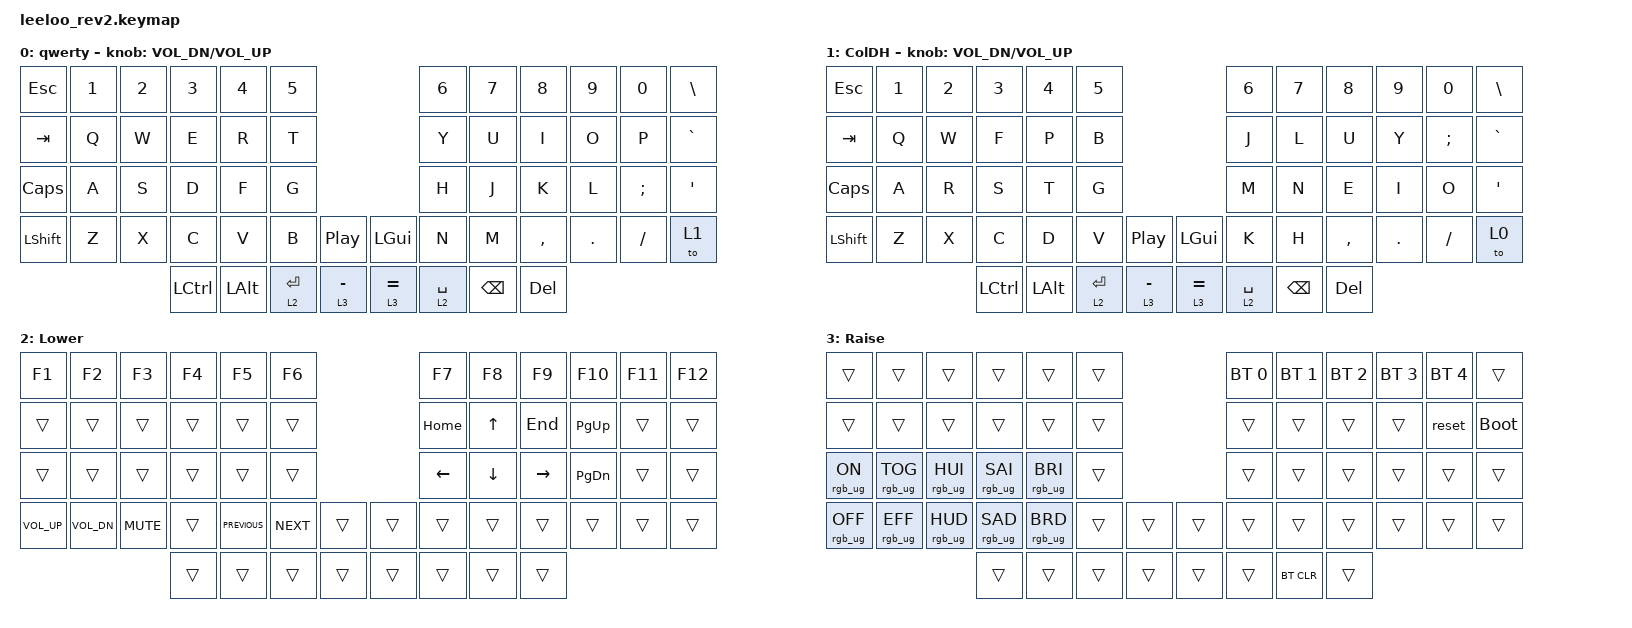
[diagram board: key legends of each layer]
/*
 * Copyright (c) 2022 The ZMK Contributors
 * SPDX-License-Identifier: MIT
 */
// $  west build -d build/left_v2 -p -b nice_nano_v2 -- -DSHIELD="leeloo_rev2_left nice_view_adapter nice_view" -DZMK_CONFIG="boards/shields/leeloo/"

#include <behaviors.dtsi>
#include <dt-bindings/zmk/outputs.h>
#include <dt-bindings/zmk/keys.h>
#include <dt-bindings/zmk/bt.h>
#include <dt-bindings/zmk/rgb.h>

// Layers
#define QWRTY      0       // qwrty_layer
#define COLDH      1       // coldh_layer
#define LOWER      2       // lower_layer
#define RAISE      3       // raise_layer

// Short versions
#define RGBON   &rgb_ug RGB_ON
#define RGBOFF  &rgb_ug RGB_OFF
#define RGBTOG  &rgb_ug RGB_TOG
#define RGBHUI  &rgb_ug RGB_HUI
#define RGBHUD  &rgb_ug RGB_HUD
#define RGBSAI  &rgb_ug RGB_SAI
#define RGBSAD  &rgb_ug RGB_SAD
#define RGBBRI  &rgb_ug RGB_BRI
#define RGBBRD  &rgb_ug RGB_BRD
#define RGBEFF  &rgb_ug RGB_EFF
#define VOLUP   &kp C_VOLUME_UP
#define VOLDN   &kp C_VOL_DN
#define MUTE    &kp C_MUTE
#define NEXT    &kp C_NEXT
#define PREV    &kp C_PREVIOUS


/* 
 * Assign the cs-gpios pin to 4.
 * Uncomment these next three lines if implementing nice!view Displays
 */
&nice_view_spi {
   cs-gpios = <&pro_micro 4 GPIO_ACTIVE_HIGH>;
};


/ {

    keymap {
        compatible = "zmk,keymap";

        qwrty_layer {
            label = " qwerty";
            bindings = <
&kp ESC    &kp N1     &kp N2     &kp N3     &kp N4     &kp N5                           &kp N6     &kp N7     &kp N8     &kp N9     &kp N0     &kp BSLH
&kp TAB    &kp Q      &kp W      &kp E      &kp R      &kp T                            &kp Y      &kp U      &kp I      &kp O      &kp P      &kp GRAV
&kp CAPS   &kp A      &kp S      &kp D      &kp F      &kp G                            &kp H      &kp J      &kp K      &kp L      &kp SEMI   &kp SQT
&kp LSHFT  &kp Z      &kp X      &kp C      &kp V      &kp B     &kp C_PP    &kp LGUI   &kp N      &kp M      &kp COMMA  &kp DOT    &kp FSLH   &to 1
                             &kp LCTRL   &kp LALT  &lt 2 RET  &lt 3 MINUS    &lt 3 EQUAL  &lt 2 SPACE  &kp BSPC   &kp DEL
            >;

             sensor-bindings = <&inc_dec_kp C_VOL_DN C_VOL_UP>;
        };

        coldh_layer {
            label = " ColDH";
            bindings = <
&kp ESC    &kp N1     &kp N2     &kp N3     &kp N4     &kp N5                           &kp N6     &kp N7     &kp N8     &kp N9     &kp N0     &kp BSLH
&kp TAB    &kp Q      &kp W      &kp F      &kp P      &kp B                            &kp J      &kp L      &kp U      &kp Y      &kp SEMI   &kp GRAV
&kp CAPS   &kp A      &kp R      &kp S      &kp T      &kp G                            &kp M      &kp N      &kp E      &kp I      &kp O      &kp SQT
&kp LSHFT  &kp Z      &kp X      &kp C      &kp D      &kp V     &kp C_PP    &kp LGUI   &kp K      &kp H      &kp COMMA  &kp DOT    &kp FSLH   &to 0
                             &kp LCTRL   &kp LALT  &lt 2 RET  &lt 3 MINUS    &lt 3 EQUAL  &lt 2 SPACE  &kp BSPC   &kp DEL
            >;

             sensor-bindings = <&inc_dec_kp C_VOL_DN C_VOL_UP>;
        };

        lower_layer {
            label = " Lower";
            bindings = <
&kp F1     &kp F2     &kp F3     &kp F4     &kp F5     &kp F6                           &kp F7     &kp F8     &kp F9     &kp F10    &kp F11    &kp F12
&trans     &trans     &trans     &trans     &trans     &trans                           &kp HOME   &kp UP     &kp END    &kp PG_UP  &trans     &trans
&trans     &trans     &trans     &trans     &trans     &trans                           &kp LEFT   &kp DOWN   &kp RIGHT  &kp PG_DN  &trans     &trans
VOLUP      VOLDN      MUTE       &trans     PREV       NEXT       &trans     &trans     &trans     &trans     &trans     &trans     &trans     &trans
                                 &trans     &trans     &trans     &trans     &trans     &trans     &trans     &trans
            >;

//             sensor-bindings = <&inc_dec_kp C_VOL_UP C_VOL_DN>;
        };

        raise_layer {
            label = " Raise";
            bindings = <
&trans     &trans     &trans     &trans     &trans     &trans                           &bt BT_SEL 0  &bt BT_SEL 1  &bt BT_SEL 2  &bt BT_SEL 3  &bt BT_SEL 4  &trans
&trans     &trans     &trans     &trans     &trans     &trans                           &trans        &trans        &trans        &trans        &reset        &bootloader
RGBON      RGBTOG     RGBHUI     RGBSAI     RGBBRI     &trans                           &trans        &trans        &trans        &trans        &trans        &trans
RGBOFF     RGBEFF     RGBHUD     RGBSAD     RGBBRD     &trans     &trans     &trans     &trans        &trans        &trans        &trans        &trans        &trans
                                 &trans     &trans     &trans     &trans     &trans     &trans        &bt BT_CLR    &trans
            >;

//             sensor-bindings = <&inc_dec_kp C_VOL_UP C_VOL_DN>;
        };

    };
};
